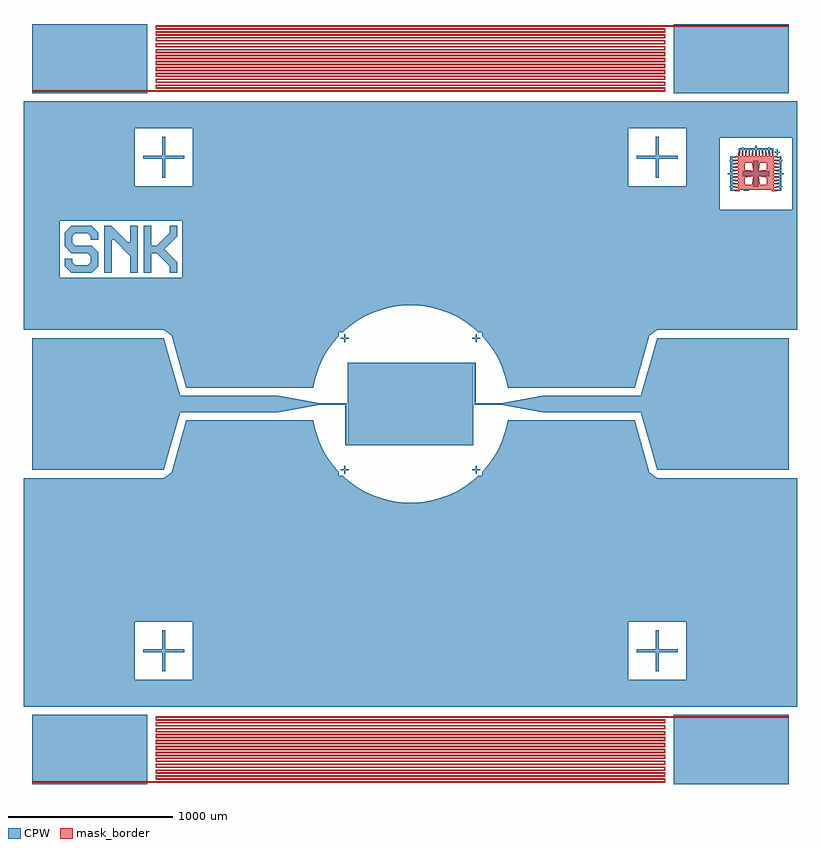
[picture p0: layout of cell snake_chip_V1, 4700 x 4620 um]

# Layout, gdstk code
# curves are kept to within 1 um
import gdstk
lib = gdstk.Library(unit=1e-6, precision=1e-09)
def R(c, l, rs):  # rectangles x0, y0, x1, y1
    for r in rs: c.add(gdstk.rectangle(r[:2], r[2:], *l))
def A(c, l, x, y, w, h, nx, ny, dx, dy):  # array of equal rectangles
    R(c, l, [(x+i*dx, y+j*dy, x+i*dx+w, y+j*dy+h) for i in range(nx) for j in range(ny)])
def P(c, l, *ps):  # polygons
    for p in ps: c.add(gdstk.Polygon(p, *l))
CPW = (1, 0)
mask_border = (2, 0)

snake_chip_v1 = lib.new_cell('snake_chip_V1')
R(snake_chip_v1, CPW, [(200,190,900,610), (4100,190,4800,610), (4525,3797.5,4555,3802.5), (200,4390,900,4810), (4100,4390,4800,4810)])
P(snake_chip_v1, CPW, [(990,875),(990,990),(875,990),(875,1010),(990,1010),(990,1125),(1010,1125),(1010,1010),(1125,1010),(1125,990),(1010,990),(1010,875)],
  [(3990,875),(3990,990),(3875,990),(3875,1010),(3990,1010),(3990,1125),(4010,1125),(4010,1010),(4125,1010),(4125,990),(4010,990),(4010,875)],
  [(2098,2075),(2098,2098),(2075,2098),(2075,2102),(2098,2102),(2098,2125),(2102,2125),(2102,2102),(2125,2102),(2125,2098),(2102,2098),(2102,2075)],
  [(2898,2075),(2898,2098),(2875,2098),(2875,2102),(2898,2102),(2898,2125),(2902,2125),(2902,2102),(2925,2102),(2925,2098),(2902,2098),(2902,2075)],
  [(150,660),(150,1175),(825,1175),(825,825),(1175,825),(1175,1175),(3825,1175),(3825,825),(4175,825),(4175,1175),(150,1175),(150,2050),(1000,2050),(1048.076,2086.264),(1137.715,2400),(1908.392,2400),(1908.392,2401.024),(1917.981,2354.212),(1925.836,2325.829),(1945.672,2270.39),(1957.606,2243.467),(1970.847,2217.162),(2001.118,2166.658),(2036.194,2119.364),(2062.5,2089.638),(2062.5,2062.5),(2089.638,2062.5),(2119.364,2036.194),(2166.658,2001.118),(2217.162,1970.847),(2270.39,1945.672),(2325.829,1925.836),(2354.212,1917.981),(2411.962,1906.494),(2441.19,1902.889),(2500,1900),(2558.81,1902.889),(2617.054,1911.529),(2674.171,1925.836),(2729.61,1945.672),(2756.533,1957.606),(2808.462,1985.363),(2857.42,2018.075),(2880.636,2036.194),(2910.362,2062.5),(2937.5,2062.5),(2937.5,2089.638),(2963.806,2119.364),(2998.882,2166.658),(3029.153,2217.162),(3042.394,2243.467),(3054.328,2270.39),(3074.164,2325.829),(3082.019,2354.212),(3091.608,2401.024),(3091.608,2400),(3862.285,2400),(3951.924,2086.264),(4000,2050),(4850,2050),(4850,660)],
  [(200,2100),(200,2900),(1000,2900),(1100,2550),(1700,2550),(1950,2505),(2112,2505),(2112,2258),(2870,2258),(2870,2261),(2120,2261),(2120,2284),(2870,2284),(2870,2287),(2120,2287),(2120,2310),(2870,2310),(2870,2313),(2120,2313),(2120,2336),(2870,2336),(2870,2339),(2120,2339),(2120,2362),(2870,2362),(2870,2365),(2120,2365),(2120,2388),(2870,2388),(2870,2391),(2120,2391),(2120,2414),(2870,2414),(2870,2417),(2120,2417),(2120,2440),(2870,2440),(2870,2443),(2120,2443),(2120,2466),(2870,2466),(2870,2469),(2120,2469),(2120,2492),(2870,2492),(2870,2495),(2120,2495),(2120,2518),(2870,2518),(2870,2521),(2120,2521),(2120,2544),(2870,2544),(2870,2547),(2120,2547),(2120,2570),(2870,2570),(2870,2573),(2120,2573),(2120,2596),(2870,2596),(2870,2599),(2120,2599),(2120,2622),(2870,2622),(2870,2625),(2120,2625),(2120,2648),(2870,2648),(2870,2651),(2120,2651),(2120,2674),(2870,2674),(2870,2677),(2120,2677),(2120,2700),(2870,2700),(2870,2703),(2120,2703),(2120,2726),(2870,2726),(2870,2729),(2120,2729),(2120,2752),(2898,2752),(2898,2505),(3050,2505),(3300,2550),(3900,2550),(4000,2900),(4800,2900),(4800,2100),(4000,2100),(3900,2450),(3300,2450),(3050,2495),(2888,2495),(2888,2742),(2130,2742),(2130,2739),(2880,2739),(2880,2716),(2130,2716),(2130,2713),(2880,2713),(2880,2690),(2130,2690),(2130,2687),(2880,2687),(2880,2664),(2130,2664),(2130,2661),(2880,2661),(2880,2638),(2130,2638),(2130,2635),(2880,2635),(2880,2612),(2130,2612),(2130,2609),(2880,2609),(2880,2586),(2130,2586),(2130,2583),(2880,2583),(2880,2560),(2130,2560),(2130,2557),(2880,2557),(2880,2534),(2130,2534),(2130,2531),(2880,2531),(2880,2508),(2130,2508),(2130,2505),(2880,2505),(2880,2482),(2130,2482),(2130,2479),(2880,2479),(2880,2456),(2130,2456),(2130,2453),(2880,2453),(2880,2430),(2130,2430),(2130,2427),(2880,2427),(2880,2404),(2130,2404),(2130,2401),(2880,2401),(2880,2378),(2130,2378),(2130,2375),(2880,2375),(2880,2352),(2130,2352),(2130,2349),(2880,2349),(2880,2326),(2130,2326),(2130,2323),(2880,2323),(2880,2300),(2130,2300),(2130,2297),(2880,2297),(2880,2274),(2130,2274),(2130,2271),(2880,2271),(2880,2248),(2102,2248),(2102,2495),(1950,2495),(1700,2450),(1100,2450),(1000,2100)],
  [(2098,2875),(2098,2898),(2075,2898),(2075,2902),(2098,2902),(2098,2925),(2102,2925),(2102,2902),(2125,2902),(2125,2898),(2102,2898),(2102,2875)],
  [(2898,2875),(2898,2898),(2875,2898),(2875,2902),(2898,2902),(2898,2925),(2902,2925),(2902,2902),(2925,2902),(2925,2898),(2902,2898),(2902,2875)],
  [(438.758,3297),(397,3338.758),(397,3383),(443,3383),(443,3361.242),(461.242,3343),(538.758,3343),(557,3361.242),(557,3398.758),(538.758,3417),(438.758,3417),(397,3458.758),(397,3541.242),(438.758,3583),(561.242,3583),(603,3541.242),(603,3497),(557,3497),(557,3518.758),(538.758,3537),(461.242,3537),(443,3518.758),(443,3481.242),(461.242,3463),(561.242,3463),(603,3421.242),(603,3338.758),(561.242,3297)],
  [(637,3297),(637,3583),(681.242,3583),(781.242,3483),(797,3483),(797,3583),(843,3583),(843,3297),(797,3297),(797,3398.758),(698.758,3497),(683,3497),(683,3297)],
  [(877,3297),(877,3583),(923,3583),(923,3463),(958.758,3463),(1037,3541.242),(1037,3583),(1083,3583),(1083,3518.758),(1004.242,3440),(1083,3361.242),(1083,3297),(1037,3297),(1037,3338.758),(958.758,3417),(923,3417),(923,3297)],
  [(4585,3820),(4585,3885),(4520,3885),(4520,3915),(4585,3915),(4585,3980),(4615,3980),(4615,3915),(4680,3915),(4680,3885),(4615,3885),(4615,3820)],
  [(4445,3795),(4445,3816.25),(4440,3816.25),(4440,3823.75),(4445,3823.75),(4445,3896.25),(4430,3896.25),(4430,3903.75),(4445,3903.75),(4445,3976.25),(4440,3976.25),(4440,3983.75),(4445,3983.75),(4445,4005),(4455,4005),(4455,4003.75),(4475,4003.75),(4475,3996.25),(4455,3996.25),(4455,3983.75),(4475,3983.75),(4475,3976.25),(4455,3976.25),(4455,3963.75),(4475,3963.75),(4475,3956.25),(4455,3956.25),(4455,3943.75),(4475,3943.75),(4475,3936.25),(4455,3936.25),(4455,3923.75),(4475,3923.75),(4475,3916.25),(4455,3916.25),(4455,3903.75),(4475,3903.75),(4475,3896.25),(4455,3896.25),(4455,3883.75),(4475,3883.75),(4475,3876.25),(4455,3876.25),(4455,3863.75),(4475,3863.75),(4475,3856.25),(4455,3856.25),(4455,3843.75),(4475,3843.75),(4475,3836.25),(4455,3836.25),(4455,3823.75),(4475,3823.75),(4475,3816.25),(4455,3816.25),(4455,3803.75),(4475,3803.75),(4475,3796.25),(4455,3796.25),(4455,3795)],
  [(4745,3795),(4745,3796.25),(4725,3796.25),(4725,3803.75),(4745,3803.75),(4745,3816.25),(4725,3816.25),(4725,3823.75),(4745,3823.75),(4745,3836.25),(4725,3836.25),(4725,3843.75),(4745,3843.75),(4745,3856.25),(4725,3856.25),(4725,3863.75),(4745,3863.75),(4745,3876.25),(4725,3876.25),(4725,3883.75),(4745,3883.75),(4745,3896.25),(4725,3896.25),(4725,3903.75),(4745,3903.75),(4745,3916.25),(4725,3916.25),(4725,3923.75),(4745,3923.75),(4745,3936.25),(4725,3936.25),(4725,3943.75),(4745,3943.75),(4745,3956.25),(4725,3956.25),(4725,3963.75),(4745,3963.75),(4745,3976.25),(4725,3976.25),(4725,3983.75),(4745,3983.75),(4745,3996.25),(4725,3996.25),(4725,4003.75),(4745,4003.75),(4745,4005),(4755,4005),(4755,3983.75),(4760,3983.75),(4760,3976.25),(4755,3976.25),(4755,3903.75),(4770,3903.75),(4770,3896.25),(4755,3896.25),(4755,3823.75),(4760,3823.75),(4760,3816.25),(4755,3816.25),(4755,3795)],
  [(4727.5,4012.5),(4727.5,4027.5),(4715,4027.5),(4715,4032.5),(4727.5,4032.5),(4727.5,4047.5),(4732.5,4047.5),(4732.5,4032.5),(4745,4032.5),(4745,4027.5),(4732.5,4027.5),(4732.5,4012.5)],
  [(4496.25,4025),(4496.25,4045),(4495,4045),(4495,4055),(4516.25,4055),(4516.25,4060),(4523.75,4060),(4523.75,4055),(4596.25,4055),(4596.25,4070),(4603.75,4070),(4603.75,4055),(4676.25,4055),(4676.25,4060),(4683.75,4060),(4683.75,4055),(4705,4055),(4705,4045),(4703.75,4045),(4703.75,4025),(4696.25,4025),(4696.25,4045),(4683.75,4045),(4683.75,4025),(4676.25,4025),(4676.25,4045),(4663.75,4045),(4663.75,4025),(4656.25,4025),(4656.25,4045),(4643.75,4045),(4643.75,4025),(4636.25,4025),(4636.25,4045),(4623.75,4045),(4623.75,4025),(4616.25,4025),(4616.25,4045),(4603.75,4045),(4603.75,4025),(4596.25,4025),(4596.25,4045),(4583.75,4045),(4583.75,4025),(4576.25,4025),(4576.25,4045),(4563.75,4045),(4563.75,4025),(4556.25,4025),(4556.25,4045),(4543.75,4045),(4543.75,4025),(4536.25,4025),(4536.25,4045),(4523.75,4045),(4523.75,4025),(4516.25,4025),(4516.25,4045),(4503.75,4045),(4503.75,4025)],
  [(990,3875),(990,3990),(875,3990),(875,4010),(990,4010),(990,4125),(1010,4125),(1010,4010),(1125,4010),(1125,3990),(1010,3990),(1010,3875)],
  [(3990,3875),(3990,3990),(3875,3990),(3875,4010),(3990,4010),(3990,4125),(4010,4125),(4010,4010),(4125,4010),(4125,3990),(4010,3990),(4010,3875)],
  [(1908.392,2598.976),(1908.392,2600),(1137.715,2600),(1048.076,2913.736),(1000,2950),(150,2950),(150,3613),(367,3613),(367,3267),(1113,3267),(1113,3613),(150,3613),(150,4175),(825,4175),(825,3825),(1175,3825),(1175,4175),(3825,4175),(3825,3825),(4175,3825),(4175,4120),(4380,4120),(4380,3680),(4820,3680),(4820,4120),(4175,4120),(4175,4175),(150,4175),(150,4340),(4850,4340),(4850,2950),(4000,2950),(3951.924,2913.736),(3862.285,2600),(3091.608,2600),(3091.608,2598.976),(3082.019,2645.788),(3074.164,2674.171),(3054.328,2729.61),(3042.394,2756.533),(3029.153,2782.838),(2998.882,2833.342),(2963.806,2880.636),(2937.5,2910.362),(2937.5,2937.5),(2910.362,2937.5),(2880.636,2963.806),(2857.42,2981.925),(2808.462,3014.637),(2756.533,3042.394),(2729.61,3054.328),(2674.171,3074.164),(2617.054,3088.471),(2558.81,3097.111),(2500,3100),(2441.19,3097.111),(2411.962,3093.506),(2354.212,3082.019),(2325.829,3074.164),(2270.39,3054.328),(2217.162,3029.153),(2166.658,2998.882),(2119.364,2963.806),(2089.638,2937.5),(2062.5,2937.5),(2062.5,2910.362),(2036.194,2880.636),(2001.118,2833.342),(1970.847,2782.838),(1957.606,2756.533),(1945.672,2729.61),(1925.836,2674.171),(1917.981,2645.788)])
A(snake_chip_v1, mask_border, 4042, 206, 8, 10, 1, 11, 0, 36)
A(snake_chip_v1, mask_border, 950, 216, 3100, 8, 1, 21, 0, 18)
A(snake_chip_v1, mask_border, 950, 224, 8, 10, 1, 11, 0, 36)
A(snake_chip_v1, mask_border, 4473, 3834.75, 30, 7.5, 1, 3, 0, 20.5)
A(snake_chip_v1, mask_border, 4697, 3834.75, 30, 7.5, 1, 3, 0, 20.5)
A(snake_chip_v1, mask_border, 4473, 3916.75, 30, 7.5, 1, 3, 0, 20.5)
A(snake_chip_v1, mask_border, 4697, 3916.75, 30, 7.5, 1, 3, 0, 20.5)
A(snake_chip_v1, mask_border, 4534.75, 3997, 7.5, 30, 3, 1, 20.5, 0)
A(snake_chip_v1, mask_border, 4616.75, 3997, 7.5, 30, 3, 1, 20.5, 0)
A(snake_chip_v1, mask_border, 4042, 4406, 8, 10, 1, 11, 0, 36)
A(snake_chip_v1, mask_border, 950, 4416, 3100, 8, 1, 21, 0, 18)
A(snake_chip_v1, mask_border, 950, 4424, 8, 10, 1, 11, 0, 36)
R(snake_chip_v1, mask_border, [(200,198,900,206), (900,198,4050,206), (950,594,4100,602), (4100,594,4800,602), (4493,3792.5,4503,4007.5), (4697,3792.5,4707,4007.5), (4473,3793.75,4503,3801.25), (4697,3793.75,4727,3801.25), (4473,3814.25,4508,3821.75), (4692,3814.25,4727,3821.75), (4473,3896.25,4513,3903.75), (4687,3896.25,4727,3903.75), (4473,3978.25,4508,3985.75), (4692,3978.25,4727,3985.75), (4596.25,3987,4603.75,4027), (4514.25,3992,4521.75,4027), (4678.25,3992,4685.75,4027), (4492.5,3997,4707.5,4007), (4493.75,3997,4501.25,4027), (4698.75,3997,4706.25,4027), (4473,3998.75,4503,4006.25), (4697,3998.75,4727,4006.25), (200,4398,900,4406), (900,4398,4050,4406), (950,4794,4100,4802), (4100,4794,4800,4802)])
P(snake_chip_v1, mask_border, [(4502.5,3802.5),(4502.5,3883),(4568,3883),(4568,3880.5),(4548,3880.5),(4548,3878),(4533,3878),(4533,3833),(4578,3833),(4578,3848),(4580.5,3848),(4580.5,3868),(4583,3868),(4583,3883),(4617,3883),(4617,3868),(4619.5,3868),(4619.5,3848),(4622,3848),(4622,3833),(4667,3833),(4667,3878),(4652,3878),(4652,3880.5),(4632,3880.5),(4632,3883),(4502.5,3883),(4502.5,3967),(4533,3967),(4533,3922),(4548,3922),(4548,3919.5),(4568,3919.5),(4568,3917),(4583,3917),(4583,3932),(4580.5,3932),(4580.5,3952),(4578,3952),(4578,3967),(4622,3967),(4622,3952),(4619.5,3952),(4619.5,3932),(4617,3932),(4617,3917),(4632,3917),(4632,3919.5),(4652,3919.5),(4652,3922),(4667,3922),(4667,3967),(4502.5,3967),(4502.5,3997.5),(4697.5,3997.5),(4697.5,3802.5)])

lib.write_gds('snake_chip_V1.gds')
